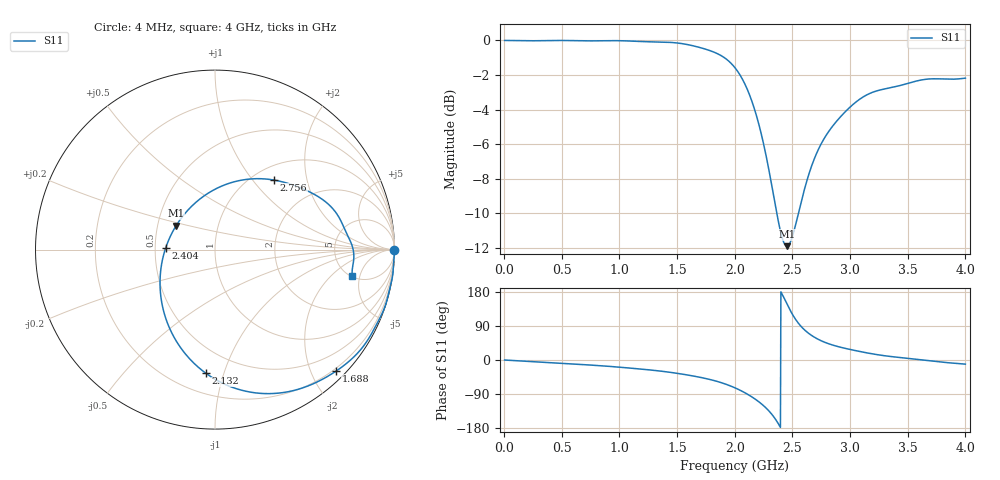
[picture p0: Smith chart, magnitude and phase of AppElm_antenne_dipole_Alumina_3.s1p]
! TOUCHSTONE file generated by CST MICROWAVE STUDIO
! Date and time: Sat May 14 12:00:57 2022
! Project name: AppElm_antenne_dipole_Alumina.cst
! Parameters = {L=33; e=0.035; f=2.45e+09; h=1.6; i=0.8; l1=2; lambda=122.449; ls=25.5; wl=1.7; ws=80}
! Header version: 2018
! Port assignment regex: !\s*Touchstone port\s*([0-9]+)\s*=\s*(CST MWS port|CST DS port)\s*([0-9]+|Zmin|Zmax)\s*\(\"(.*)\"\)(\s*mode\s*([0-9]+))?.*
! Touchstone port assignment:
! Touchstone port 1 = CST MWS port 1 ("")
# GHz S MA R 50
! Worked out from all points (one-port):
!   1000 points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, 4 MHz to 4 GHz, reference 50 ohm
!   lowest |S11| = -11.9 dB at 2.452 GHz (marker M1), VSWR 1.68, Z = 31.2 + j8.9 ohm
!   |S11| at or under -10 dB: 2.365 GHz to 2.552 GHz (187 MHz wide, 7.61 % of centre)
!   S11 on the Smith chart (normalised r, x): 4 MHz: open; 1.688 GHz: 0.15, -2.41; 2.132 GHz: 0.33, -0.87; 2.404 GHz: 0.57, +0.01; 2.756 GHz: 1.23, +1.29; 4 GHz: 5.10, -3.81
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0.004  1 -0.1
0.504  1 -8.7
1.004  0.9984 -19.1
1.32  0.9902 -28.0
1.504  0.9831 -35.3
1.688  0.9559 -45.0
1.78  0.9358 -51.1
1.856  0.9136 -57.3
1.928  0.8826 -64.5
2.004  0.8322 -73.8
2.068  0.771 -83.2
2.132  0.6908 -94.2
2.212  0.5669 -111.0
2.276  0.4568 -128.1
2.34  0.3512 -150.7
2.404  0.2742 177.6
2.452  0.2543 148.4
2.504  0.2741 118.5
2.56  0.3246 93.9
2.616  0.3835 76.5
2.68  0.4462 62.1
2.756  0.5073 49.9
2.864  0.5739 38.0
3.004  0.6437 27.6
3.204  0.71 15.6
3.504  0.7521 4.3
3.684  0.7738 -2.1
4  0.7782 -10.9
